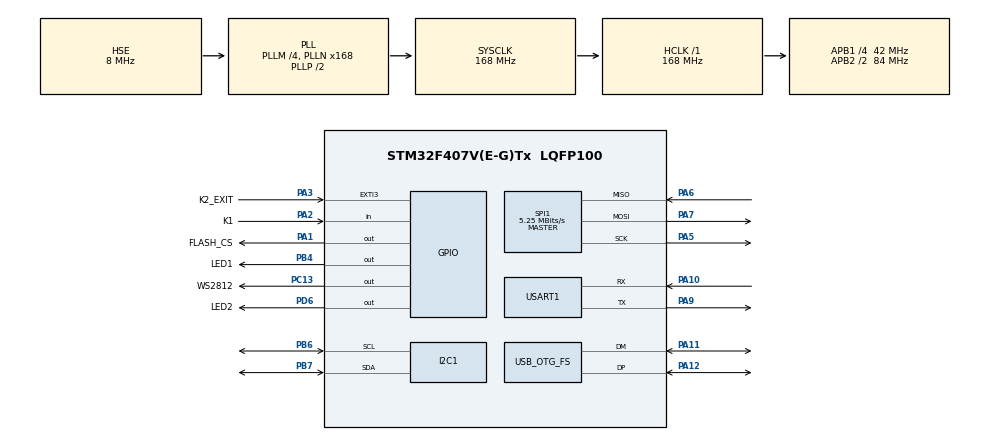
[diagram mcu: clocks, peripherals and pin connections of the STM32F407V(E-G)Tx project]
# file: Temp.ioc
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FATFS._CODE_PAGE=936
FATFS._FS_TINY=1
FATFS._MAX_SS=4096
FATFS._MIN_SS=4096
Mcu.Family=STM32F4
Mcu.Name=STM32F407V(E-G)Tx
Mcu.Package=LQFP100
NVIC.EXTI3_IRQn=true\:0\:0\:false\:false\:true\:true\:true\:true
NVIC.OTG_FS_IRQn=true\:0\:0\:false\:false\:true\:false\:true\:true
NVIC.PriorityGroup=NVIC_PRIORITYGROUP_4
NVIC.USART1_IRQn=true\:0\:0\:false\:false\:true\:true\:true\:true
PA1.GPIO_Label=FLASH_CS
PA1.GPIO_PuPd=GPIO_PULLUP
PA1.GPIO_Speed=GPIO_SPEED_FREQ_HIGH
PA1.PinState=GPIO_PIN_SET
PA1.Signal=GPIO_Output
PA10.Mode=Asynchronous
PA10.Signal=USART1_RX
PA11.Mode=Device_Only
PA11.Signal=USB_OTG_FS_DM
PA12.Mode=Device_Only
PA12.Signal=USB_OTG_FS_DP
PA13.Mode=Serial_Wire
PA13.Signal=SYS_JTMS-SWDIO
PA14.Mode=Serial_Wire
PA14.Signal=SYS_JTCK-SWCLK
PA2.GPIO_Label=K1
PA2.GPIO_Mode=GPIO_MODE_INPUT
PA2.Signal=GPIO_Input
PA3.GPIO_Label=K2_EXIT
PA3.GPIO_ModeDefaultEXTI=GPIO_MODE_IT_FALLING
PA3.Signal=GPXTI3
PA5.Mode=Full_Duplex_Master
PA5.Signal=SPI1_SCK
PA6.Mode=Full_Duplex_Master
PA6.Signal=SPI1_MISO
PA7.Mode=Full_Duplex_Master
PA7.Signal=SPI1_MOSI
PA9.Mode=Asynchronous
PA9.Signal=USART1_TX
PB4.GPIO_Label=LED1
PB4.GPIO_ModeDefaultOutputPP=GPIO_MODE_OUTPUT_PP
PB4.GPIO_PuPd=GPIO_PULLUP
PB4.GPIO_Speed=GPIO_SPEED_FREQ_HIGH
PB4.PinState=GPIO_PIN_SET
PB4.Signal=GPIO_Output
PB6.Mode=I2C
PB6.Signal=I2C1_SCL
PB7.Mode=I2C
PB7.Signal=I2C1_SDA
PC13-ANTI_TAMP.GPIO_Label=WS2812
PC13-ANTI_TAMP.GPIO_PuPd=GPIO_PULLUP
PC13-ANTI_TAMP.GPIO_Speed=GPIO_SPEED_FREQ_LOW
PC13-ANTI_TAMP.PinState=GPIO_PIN_SET
PC13-ANTI_TAMP.Signal=GPIO_Output
PC14-OSC32_IN.Mode=LSE-External-Oscillator
PC14-OSC32_IN.Signal=RCC_OSC32_IN
PC15-OSC32_OUT.Mode=LSE-External-Oscillator
PC15-OSC32_OUT.Signal=RCC_OSC32_OUT
PD6.GPIO_Label=LED2
PD6.GPIO_ModeDefaultOutputPP=GPIO_MODE_OUTPUT_PP
PD6.GPIO_PuPd=GPIO_PULLUP
PD6.GPIO_Speed=GPIO_SPEED_FREQ_HIGH
PD6.PinState=GPIO_PIN_SET
PD6.Signal=GPIO_Output
PH0-OSC_IN.Mode=HSE-External-Oscillator
PH0-OSC_IN.Signal=RCC_OSC_IN
PH1-OSC_OUT.Mode=HSE-External-Oscillator
PH1-OSC_OUT.Signal=RCC_OSC_OUT
ProjectManager.HeapSize=0x1000
ProjectManager.StackSize=0x1000
ProjectManager.TargetToolchain=MDK-ARM V5.32
RCC.48MHZClocksFreq_Value=48000000
RCC.AHBFreq_Value=168000000
RCC.APB1CLKDivider=RCC_HCLK_DIV4
RCC.APB1Freq_Value=42000000
RCC.APB1TimFreq_Value=84000000
RCC.APB2CLKDivider=RCC_HCLK_DIV2
RCC.APB2Freq_Value=84000000
RCC.APB2TimFreq_Value=168000000
RCC.CortexFreq_Value=168000000
RCC.HCLKFreq_Value=168000000
RCC.HSE_VALUE=8000000
RCC.HSI_VALUE=16000000
RCC.PLLM=4
RCC.PLLN=168
RCC.PLLQ=7
RCC.RCC_MCO1Source=RCC_MCO1SOURCE_HSE
RCC.RCC_MCODiv2=RCC_MCODIV_5
RCC.SYSCLKFreq_VALUE=168000000
RCC.SYSCLKSource=RCC_SYSCLKSOURCE_PLLCLK
RCC.VCOOutputFreq_Value=336000000
SPI1.BaudRatePrescaler=SPI_BAUDRATEPRESCALER_16
SPI1.CalculateBaudRate=5.25 MBits/s
SPI1.Direction=SPI_DIRECTION_2LINES
SPI1.Mode=SPI_MODE_MASTER
SPI1.VirtualType=VM_MASTER
USART1.VirtualMode=VM_ASYNC
USB_DEVICE.CLASS_NAME_FS=CDC
USB_DEVICE.VirtualMode-CDC_FS=Cdc
USB_DEVICE.VirtualModeFS=Cdc_FS
USB_OTG_FS.VirtualMode=Device_Only
VP_FATFS_VS_Generic.Mode=User_defined
VP_USB_DEVICE_VS_USB_DEVICE_CDC_FS.Mode=CDC_FS
board=custom

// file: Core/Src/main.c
/* USER CODE BEGIN Header */
/**
  ******************************************************************************
  * @file           : main.c
  * @brief          : Main program body
  ******************************************************************************
  * @attention
  *
  * Copyright (c) 2025 STMicroelectronics.
  * All rights reserved.
  *
  * This software is licensed under terms that can be found in the LICENSE file
  * in the root directory of this software component.
  * If no LICENSE file comes with this software, it is provided AS-IS.
  *
  ******************************************************************************
  */
/* USER CODE END Header */
#include "main.h"
#include "fatfs.h"
#include "i2c.h"
#include "spi.h"
#include "usart.h"
#include "usb_device.h"
#include "gpio.h"

/* USER CODE BEGIN Includes */
#include "stdio.h"//printf函数�?
//添加头文件支�?
#include "string.h"
#include "bsp_spi_flash.h"//SPI flash驱动
#include "usbd_cdc_if.h"
/* USER CODE END Includes */

/* USER CODE BEGIN PTD */
uint8_t rx_buff[100];  //接收缓存
uint8_t rx_done = 0; //接收完成标志
uint8_t rx_cnt = 0;//接收数据长度

//IIC全局变量
#define ADDR_WR_AT24CXX 0xA0 //写器件地�?
#define ADDR_RD_AT24CXX 0xA1 //读器件地�?
#define BuffSize 256
uint8_t Wr_buff[BuffSize],Rd_buff[BuffSize];//读写数据buff
 unsigned char USB_CDC_buff[] = {"STM32 HAL USB virtual port com test!\r\n"};
/* USER CODE END PTD */

/* USER CODE BEGIN PV */
SPI_HandleTypeDef *hspi_flash = &hspi1; // 必须定义
/* USER CODE END PV */

void SystemClock_Config(void);
/* USER CODE BEGIN PFP */
void FatFs_Test(void);
void spi_flash_test(void);
void E2PROM_I2C_Test(void);
/* USER CODE END PFP */

int main(void)
{

  /* MCU Configuration--------------------------------------------------------*/

  /* Reset of all peripherals, Initializes the Flash interface and the Systick. */
  HAL_Init();

  /* Configure the system clock */
  SystemClock_Config();

  /* Initialize all configured peripherals */
  MX_GPIO_Init();
  MX_USART1_UART_Init();
  MX_I2C1_Init();
  MX_SPI1_Init();
  MX_FATFS_Init();
  MX_USB_DEVICE_Init();
  /* USER CODE BEGIN 2 */
	//E2PROM_I2C_Test();
	//spi_flash_test();
	//FatFs_Test();
  /* USER CODE END 2 */

  /* Infinite loop */
  while (1)
  {

    /* USER CODE BEGIN 3 */
		CDC_Transmit_FS(USB_CDC_buff, sizeof(USB_CDC_buff));
    HAL_Delay(2000);
    if(rx_done == 1)//判读是否接收完成
    {
        rx_done = 0;//清除接收标志
        //数据处理，打印接收长度�?�接收的数据
        printf("length of rx data: %d!\r\n",rx_cnt);
        for(int i = 0;i<rx_cnt;i++) printf("%c",rx_buff[i]);
        printf("\r\n");

        rx_cnt =0;//清除接收长度
    }
    HAL_GPIO_TogglePin(LED1_GPIO_Port, LED1_Pin); // 切换亮�?�灭状�?�，添加此语句防止优�?
  }
  /* USER CODE END 3 */
}

void SystemClock_Config(void)
{
  RCC_OscInitTypeDef RCC_OscInitStruct = {0};
  RCC_ClkInitTypeDef RCC_ClkInitStruct = {0};

  /** Configure the main internal regulator output voltage
  */
  __HAL_RCC_PWR_CLK_ENABLE();
  __HAL_PWR_VOLTAGESCALING_CONFIG(PWR_REGULATOR_VOLTAGE_SCALE1);

  /** Initializes the RCC Oscillators according to the specified parameters
  * in the RCC_OscInitTypeDef structure.
  */
  RCC_OscInitStruct.OscillatorType = RCC_OSCILLATORTYPE_HSE;
  RCC_OscInitStruct.HSEState = RCC_HSE_ON;
  RCC_OscInitStruct.PLL.PLLState = RCC_PLL_ON;
  RCC_OscInitStruct.PLL.PLLSource = RCC_PLLSOURCE_HSE;
  RCC_OscInitStruct.PLL.PLLM = 4;
  RCC_OscInitStruct.PLL.PLLN = 168;
  RCC_OscInitStruct.PLL.PLLP = RCC_PLLP_DIV2;
  RCC_OscInitStruct.PLL.PLLQ = 7;
  if (HAL_RCC_OscConfig(&RCC_OscInitStruct) != HAL_OK)
  {
    Error_Handler();
  }

  /** Initializes the CPU, AHB and APB buses clocks
  */
  RCC_ClkInitStruct.ClockType = RCC_CLOCKTYPE_HCLK|RCC_CLOCKTYPE_SYSCLK
                              |RCC_CLOCKTYPE_PCLK1|RCC_CLOCKTYPE_PCLK2;
  RCC_ClkInitStruct.SYSCLKSource = RCC_SYSCLKSOURCE_PLLCLK;
  RCC_ClkInitStruct.AHBCLKDivider = RCC_SYSCLK_DIV1;
  RCC_ClkInitStruct.APB1CLKDivider = RCC_HCLK_DIV4;
  RCC_ClkInitStruct.APB2CLKDivider = RCC_HCLK_DIV2;

  if (HAL_RCC_ClockConfig(&RCC_ClkInitStruct, FLASH_LATENCY_5) != HAL_OK)
  {
    Error_Handler();
  }
}

/* USER CODE BEGIN 4 */
#ifdef __GNUC__
#define PUTCHAR_PROTOTYPE int __io_putchar(int ch)
#else
#define PUTCHAR_PROTOTYPE int fputc(int ch,FILE *f)
#endif /* __GNUC__ */
//重定向printf函数
PUTCHAR_PROTOTYPE
{
    HAL_UART_Transmit(&huart1,(uint8_t *)&ch,1,HAL_MAX_DELAY);//输出指向串口USART1
    return ch;
}
//重写GPIO中断处理函数
void HAL_GPIO_EXTI_Callback(uint16_t GPIO_Pin)
{
    //翻转LED1
    HAL_GPIO_TogglePin(LED1_GPIO_Port,LED1_Pin);
    //打印中断处理信息
    printf("K2 ExTi interrput!\r\n");
}

//EEPROM测试
void E2PROM_I2C_Test(void)
{
    HAL_StatusTypeDef error;
    uint8_t length = 8 ;
    for(uint16_t i = 0;i<256;i++) Wr_buff[i] = i;
    //AT24Cxx地址00弿始写兿8Byte数据
    error = HAL_I2C_Mem_Write(&hi2c1,ADDR_WR_AT24CXX,0x00,I2C_MEMADD_SIZE_16BIT,Wr_buff,length,1000);
    if(error == HAL_OK) printf("e2prom write done!\r\n");
    else                printf("e2prom write fail!\r\n");
    HAL_Delay(1000);
    //从地�?0x00弿始�?8Byte数据，并打印�?
    error = HAL_I2C_Mem_Read(&hi2c1,ADDR_RD_AT24CXX,0x00,I2C_MEMADD_SIZE_16BIT,Rd_buff,length,1000);
    if(error == HAL_OK)
    {
        printf("e2prom read done!\r\n");
        for(uint16_t i=0;i<length;i++)
        {
            printf("0x%02x ",Rd_buff[i]);
        }
        printf("\r\n");
    }
    else  printf("e2prom write fail!\r\n");
}
void spi_flash_test(void)
{
  /* 测试Flash驱动 */
  uint16_t manu_id, dev_id;
  uint8_t jedec_id[3];
  uint8_t write_buf[256] = {0xAA, 0xBB, 0xCC, 0xDD};
  uint8_t read_buf[256];

  Flash_ReadID(&manu_id, &dev_id);
  printf("Flash Manufacturer ID: 0x%04X\r\n", manu_id);
  printf("Flash Device ID: 0x%04X\r\n", dev_id);
  Flash_ReadJedecID(jedec_id);
  printf("Flash JEDEC ID: 0x%02X, 0x%02X, 0x%02X\r\n", jedec_id[0], jedec_id[1], jedec_id[2]);

  if (Flash_SectorErase(0x0000) == HAL_OK) {
    Flash_PageProgram(0x0000, write_buf, 4);
    Flash_ReadData(0x0000, read_buf, 4);
  }
  printf("Flash Write Data: 0x%02X, 0x%02X, 0x%02X, 0x%02X\r\n", write_buf[0], write_buf[1], write_buf[2], write_buf[3]);
  printf("Flash Read  Data: 0x%02X, 0x%02X, 0x%02X, 0x%02X\r\n", read_buf[0], read_buf[1], read_buf[2], read_buf[3]);
  // 验证数据
  if (memcmp(write_buf, read_buf, 4) == 0) {
    printf("\r\nSPI Flash Test Passed!\r\n");
  }
}

FATFS fs;       // 文件系统对象
FIL fil;        // 文件对象
FRESULT res;    // FatFs 函数返回�?
uint8_t work_buf[4096]; // 定义工作缓冲区（�?足够大，建议4KB以上�?

void FatFs_Test(void) {
    // 步骤1：首次尝试挂载文件系统（不自动格式化�?
    res = f_mount(&fs, "0:", 1);  // 第三个参�?0：不自动格式�?
    if (res == FR_OK) {
        printf("f_mount ok\n");
    } else {
        printf("f_mount failed: 0x%02X\n", res);

        // 步骤2：若因未初始化文件系统（FR_NO_FILESYSTEM），尝试格式�?
        if (res == FR_NO_FILESYSTEM) {
            printf("FR_NO_FILESYSTEM,begin f_mkfs...\n");

            // 格式化参数：自动选择FAT类型（FM_ANY），快�?�格式化（FM_SFD�?
            res = f_mkfs("0:", FM_ANY | FM_SFD, 0, work_buf, sizeof(work_buf));

            if (res == FR_OK) {
                printf("f_mkfs ok,f_mount again...\n");
                res = f_mount(&fs, "0:", 1);  // 重新挂载（自动格式化已完成）
                if (res == FR_OK) {
                    printf("f_mount ok\n");
                } else {
                    printf("f_mount failed: 0x%02X\n", res);
                    return;
                }
            } else {
                printf("f_mkfs failed: 0x%02X\n", res);
                return;
            }
        } else {
            // 其他错误（如设备未就绪�?�硬件错误）
            printf("can not f_mkfs\n");
            return;
        }
    }

    // 步骤3：文件读写测�?
    res = f_open(&fil, "test.txt", FA_CREATE_ALWAYS | FA_WRITE);
    if (res != FR_OK) {
        printf("f_open test.txt failed: 0x%02X\n", res);
			return;
    }
		else
		{
			printf("f_open ok\n");
		}

    char *msg = "Hello, SPI Flash with FatFs  rymcu.com!";
    UINT bytes_written;
    res = f_write(&fil, msg, strlen(msg), &bytes_written);
    if (res != FR_OK) {
        printf("f_write failed: 0x%02X\n", res);
        f_close(&fil);
        return;
    }
    printf("f_write ok: %d\n", bytes_written);
    f_close(&fil);

    // 步骤4：读取验�?
    res = f_open(&fil, "test.txt", FA_READ);
    if (res != FR_OK) {
        printf("f_open failed: 0x%02X\n", res);
        return;
    }

    static char buf[200];
    UINT bytes_read;
    res = f_read(&fil, buf, sizeof(buf)-1, &bytes_read);
    if (res != FR_OK) {
        printf("f_read failed: 0x%02X\n", res);
        f_close(&fil);
        return;
    }
    buf[bytes_read] = '\0';
    printf("f_read: %s\n", buf);
    f_close(&fil);

    // 步骤5：卸载文件系�?
    f_mount(NULL, "0:", 0);
    printf("test done\n\n");
}

/* USER CODE END 4 */

void Error_Handler(void)
{
  __disable_irq();
  while (1)
  {
  }
}
